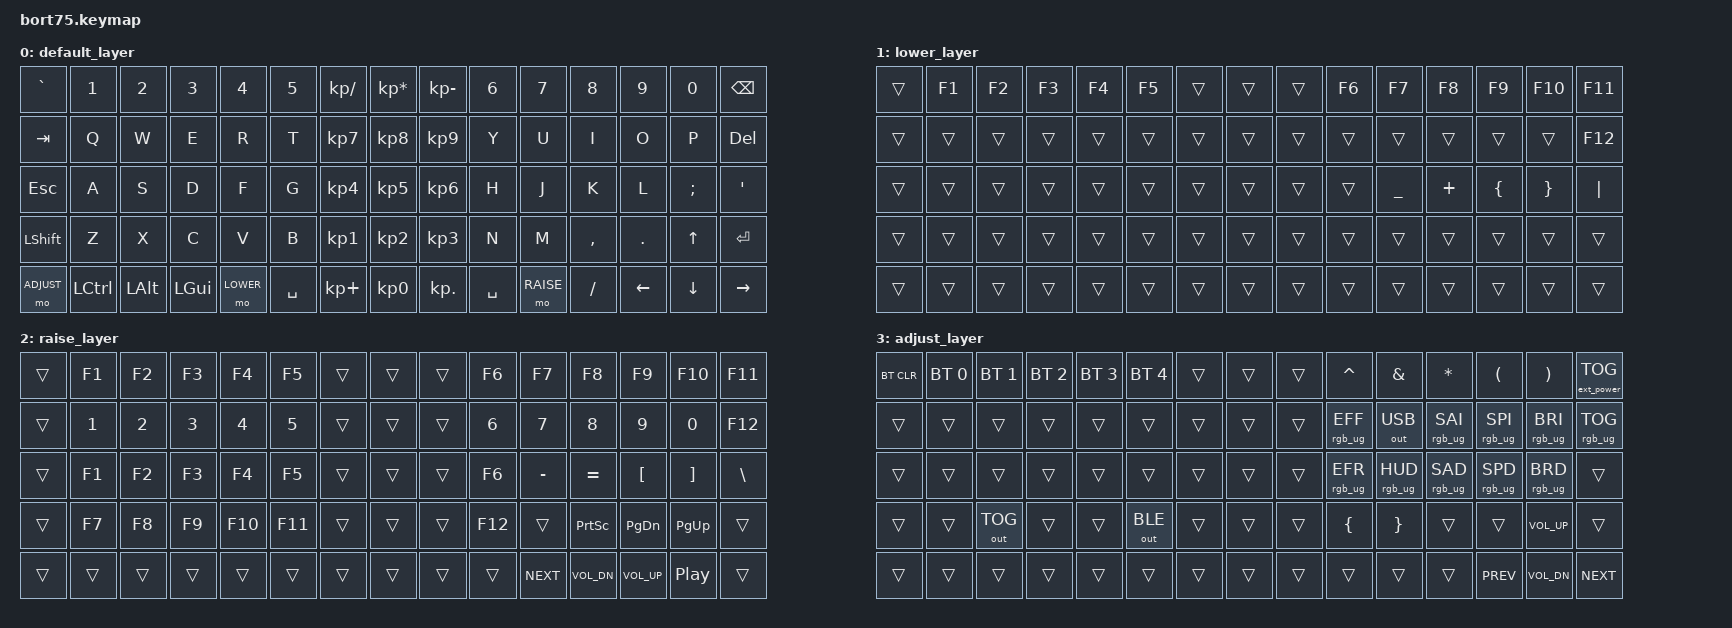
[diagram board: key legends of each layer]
#include <behaviors.dtsi>
#include <dt-bindings/zmk/keys.h>
#include <dt-bindings/zmk/bt.h>
#include <dt-bindings/zmk/rgb.h>
#include <dt-bindings/zmk/ext_power.h>
#include <dt-bindings/zmk/outputs.h>

#define DEFAULT 0
#define LOWER  1
#define RAISE  2 
#define ADJUST 3

#define KP_MULT KP_MULTIPLY
#define KP_DIV KP_DIVIDE
#define KP_ADD KP_PLUS
#define KP_SUB KP_MINUS

/ {
    keymap {
        compatible = "zmk,keymap";

        default_layer
        {
            bindings = <
                &kp GRAVE  &kp N1     &kp N2    &kp N3    &kp N4  &kp N5     &kp KP_DIV  &kp KP_MULT  &kp KP_SUB  &kp N6     &kp N7  &kp N8     &kp N9      &kp N0    &kp BSPC
                &kp TAB    &kp Q      &kp W     &kp E     &kp R   &kp T      &kp KP_N7   &kp KP_N8    &kp KP_N9   &kp Y      &kp U   &kp I      &kp O       &kp P     &kp DEL
                &kp ESC    &kp A      &kp S     &kp D     &kp F   &kp G      &kp KP_N4   &kp KP_N5    &kp KP_N6   &kp H      &kp J   &kp K      &kp L       &kp SEMI  &kp SQT
                &kp LSHFT  &kp Z      &kp X     &kp C     &kp V   &kp B      &kp KP_N1   &kp KP_N2    &kp KP_N3   &kp N      &kp M   &kp COMMA  &kp PERIOD  &kp UP    &kp RET
                &mo ADJUST &kp LCTRL  &kp LALT  &kp LGUI  &mo LOWER   &kp SPACE  &kp KP_ADD  &kp KP_N0    &kp KP_DOT  &kp SPACE  &mo RAISE   &kp SLASH  &kp LEFT    &kp DOWN  &kp RIGHT
            >;
        };

        lower_layer {
            bindings = <
                &trans  &kp F1  &kp F2  &kp F3  &kp F4  &kp F5  &trans  &trans  &trans  &kp F6    &kp F7    &kp F8   &kp F9   &kp F10  &kp F11
                &trans  &trans  &trans  &trans  &trans  &trans  &trans  &trans  &trans  &trans    &trans    &trans   &trans   &trans   &kp F12    
                &trans  &trans  &trans  &trans  &trans  &trans  &trans  &trans  &trans  &trans    &kp UNDER &kp PLUS &kp LBRC &kp RBRC &kp PIPE 
                &trans  &trans  &trans  &trans  &trans  &trans  &trans  &trans  &trans  &trans    &trans    &trans   &trans   &trans   &trans
                &trans  &trans  &trans  &trans  &trans  &trans  &trans  &trans  &trans  &trans    &trans    &trans   &trans   &trans   &trans    
            >;
        };

        raise_layer {
            bindings = <
                &trans  &kp F1  &kp F2  &kp F3  &kp F4  &kp F5  &trans  &trans  &trans  &kp F6  &kp F7     &kp F8       &kp F9       &kp F10    &kp F11
                &trans  &kp N1  &kp N2  &kp N3  &kp N4  &kp N5  &trans  &trans  &trans  &kp N6  &kp N7     &kp N8       &kp N9       &kp N0     &kp F12
                &trans  &kp F1  &kp F2  &kp F3  &kp F4  &kp F5  &trans  &trans  &trans  &kp F6  &kp MINUS  &kp EQUAL    &kp LBKT     &kp RBKT   &kp BSLH
                &trans  &kp F7  &kp F8  &kp F9  &kp F10 &kp F11 &trans  &trans  &trans  &kp F12 &trans     &kp PSCRN    &kp PG_DN    &kp PG_UP  &trans
                &trans  &trans  &trans  &trans  &trans  &trans  &trans  &trans  &trans  &trans  &kp C_NEXT &kp C_VOL_DN &kp C_VOL_UP &kp C_PP   &trans
            >;
        };

//        adjust_layer {
//            bindings = <
//                &trans  &trans  &trans  &trans  &trans  &trans  &trans  &trans  &trans  &trans  &trans  &trans  &trans  &trans  &trans
//                &trans  &trans  &trans  &trans  &trans  &trans  &trans  &trans  &trans  &trans  &trans  &trans  &trans  &trans  &trans
//                &trans  &trans  &trans  &trans  &trans  &trans  &trans  &trans  &trans  &trans  &trans  &trans  &trans  &trans  &trans
//                &trans  &trans  &trans  &trans  &trans  &trans  &trans  &trans  &trans  &trans  &trans  &trans  &trans  &trans  &trans
//                &trans  &trans  &trans  &trans  &trans  &trans  &trans  &trans  &trans  &trans  &trans  &trans  &trans  &trans  &trans
//            >;
//        };


// this layer won't compile... need to double check the keycodes
        adjust_layer {
            bindings = <
                &bt BT_CLR &bt BT_SEL 0 &bt BT_SEL 1 &bt BT_SEL 2 &bt BT_SEL 3 &bt BT_SEL 4 &trans    &trans    &trans    &kp CARET       &kp AMPS        &kp ASTRK       &kp LPAR        &kp RPAR        &ext_power EP_TOG
                &trans     &trans       &trans       &trans       &trans       &trans       &trans    &trans    &trans    &rgb_ug RGB_EFF &out OUT_USB    &rgb_ug RGB_SAI &rgb_ug RGB_SPI &rgb_ug RGB_BRI &rgb_ug RGB_TOG
                &trans     &trans       &trans       &trans       &trans       &trans       &trans    &trans    &trans    &rgb_ug RGB_EFR &rgb_ug RGB_HUD &rgb_ug RGB_SAD &rgb_ug RGB_SPD &rgb_ug RGB_BRD &trans
                &trans     &trans       &out OUT_TOG &trans       &trans       &out OUT_BLE &trans    &trans    &trans    &kp LBRC        &kp RBRC        &trans          &trans          &kp C_VOL_UP    &trans
                &trans     &trans       &trans       &trans       &trans       &trans       &trans    &trans    &trans    &trans          &trans          &trans          &kp C_PREV      &kp C_VOL_DN    &kp C_NEXT
            >;
        };

    };
};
